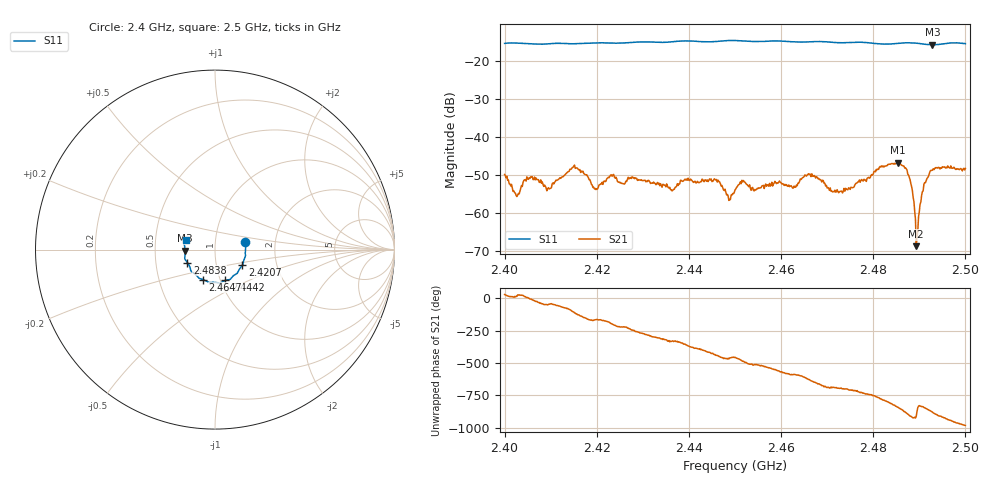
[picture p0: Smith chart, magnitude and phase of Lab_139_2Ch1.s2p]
# Hz S RI R 50
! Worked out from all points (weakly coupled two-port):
!   601 points, 2.4 GHz to 2.5 GHz, reference 50 ohm
!   highest |S21| = -46.65 dB at 2.4853 GHz (marker M1); lowest = -68.6 dB at 2.4893 GHz (marker M2)
!   lowest |S11| = -15.6 dB at 2.4928 GHz (marker M3), VSWR 1.40, Z = 35.8 - j0.391 ohm
!   |S11| at or under -10 dB: start of sweep to end of sweep
!   S12 and S22 are empty: the file has one direction only
!   S11 on the Smith chart (normalised r, x): 2.4 GHz: 1.40, +0.12; 2.4207 GHz: 1.33, -0.24; 2.4442 GHz: 1.05, -0.37; 2.4647 GHz: 0.83, -0.29; 2.4838 GHz: 0.73, -0.11; 2.5 GHz: 0.72, +0.08
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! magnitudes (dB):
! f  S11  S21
! 2.4 GHz  -15.3  -49.7
! 2.4027 GHz  -15.2  -55.6
! 2.4053 GHz  -15.4  -50.6
! 2.4097 GHz  -15.3  -53.5
! 2.4167 GHz  -15.3  -48.8
! 2.4207 GHz  -15.1  -52.4
! 2.4233 GHz  -15.2  -50.2
! 2.4333 GHz  -15.0  -52.2
! 2.4442 GHz  -14.9  -51.6
! 2.4487 GHz  -14.5  -56.6
! 2.45 GHz  -14.5  -53.8
! 2.4647 GHz  -14.9  -50.6
! 2.4667 GHz  -14.8  -49.6
! 2.473 GHz  -15.1  -54.2
! 2.4833 GHz  -15.4  -47.1
! 2.4838 GHz  -15.4  -46.9
! 2.4853 GHz  -15.2  -46.6
! 2.4877 GHz  -15.1  -49.9
! 2.4893 GHz  -15.2  -68.6
! 2.491 GHz  -15.4  -52.3
! 2.4928 GHz  -15.6  -48.6
! 2.5 GHz  -15.3  -48.2
